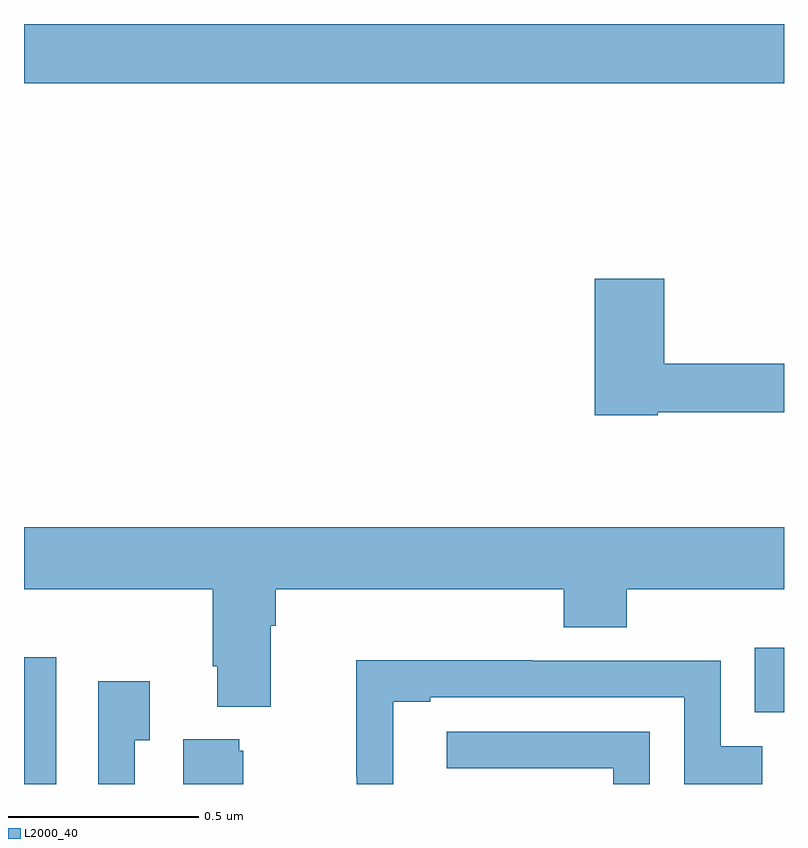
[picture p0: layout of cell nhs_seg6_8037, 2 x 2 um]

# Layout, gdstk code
import gdstk
lib = gdstk.Library(unit=1e-6, precision=1e-09)
def R(c, l, rs):  # rectangles x0, y0, x1, y1
    for r in rs: c.add(gdstk.rectangle(r[:2], r[2:], *l))
def P(c, l, *ps):  # polygons
    for p in ps: c.add(gdstk.Polygon(p, *l))
L2000_40 = (2000, 40)

nhs_seg6_8037 = lib.new_cell('nhs_seg6_8037')
R(nhs_seg6_8037, L2000_40, [(216,937.5,216.085,937.834), (217.923,937.689,218,937.858), (216,939.344,218,939.5)])
P(nhs_seg6_8037, L2000_40, [(217.668,938.478),(218,938.478),(218,938.606),(217.685,938.606),(217.685,938.83),(217.502,938.83),(217.502,938.47),(217.668,938.47)],
  [(216.649,937.916),(216.662,937.916),(216.662,938.012),(217.421,938.012),(217.421,937.913),(217.586,937.913),(217.586,938.012),(218,938.012),(218,938.176),(216,938.176),(216,938.012),(216.497,938.012),(216.497,937.81),(216.509,937.81),(216.509,937.703),(216.649,937.703)],
  [(216.972,937.716),(217.069,937.716),(217.069,937.728),(217.737,937.728),(217.737,937.5),(217.943,937.5),(217.943,937.599),(217.833,937.599),(217.833,937.824),(217.337,937.824),(217.337,937.826),(216.874,937.826),(216.874,937.519),(216.876,937.519),(216.876,937.5),(216.972,937.5)],
  [(216.291,937.615),(216.331,937.615),(216.331,937.771),(216.195,937.771),(216.195,937.5),(216.291,937.5)],
  [(217.647,937.638),(217.113,937.638),(217.113,937.542),(217.551,937.542),(217.551,937.5),(217.647,937.5)],
  [(216.577,937.587),(216.566,937.587),(216.566,937.618),(216.419,937.618),(216.419,937.5),(216.577,937.5)])

lib.write_gds('nhs_seg6_8037.gds')
